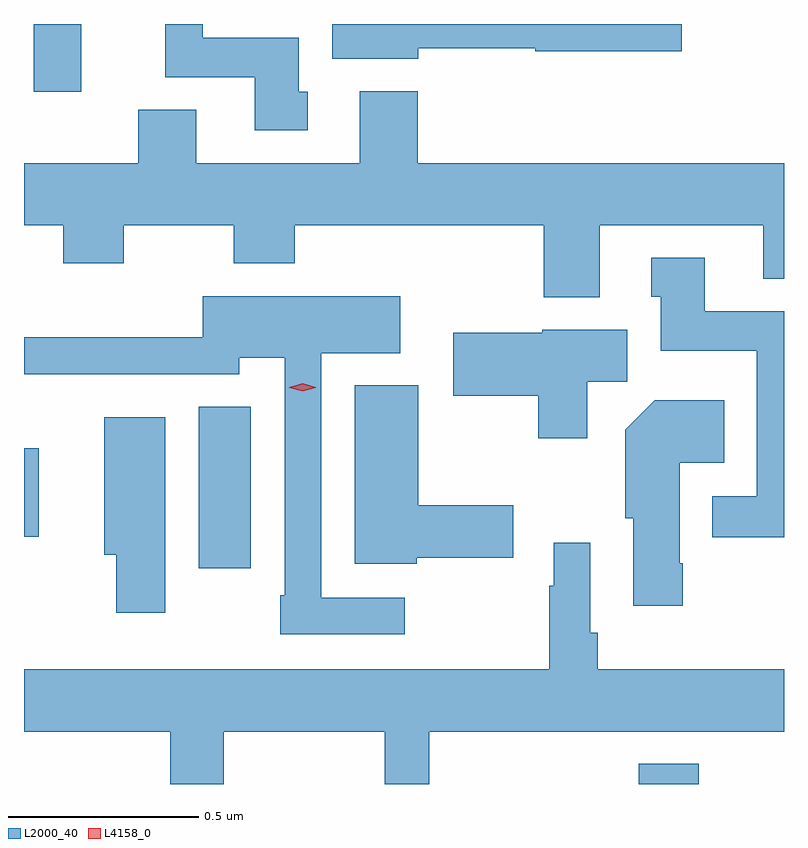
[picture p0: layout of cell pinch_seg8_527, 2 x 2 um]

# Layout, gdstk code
import gdstk
lib = gdstk.Library(unit=1e-6, precision=1e-09)
def R(c, l, rs):  # rectangles x0, y0, x1, y1
    for r in rs: c.add(gdstk.rectangle(r[:2], r[2:], *l))
def P(c, l, *ps):  # polygons
    for p in ps: c.add(gdstk.Polygon(p, *l))
L2000_40 = (2000, 40)
L4158_0 = (4158, 0)

pinch_seg8_527 = lib.new_cell('pinch_seg8_527')
R(pinch_seg8_527, L2000_40, [(221.12,1121.69,221.277,1121.743), (219.962,1122.258,220.099,1122.683), (219.502,1122.341,219.541,1122.574), (219.527,1123.512,219.652,1123.69)])
P(pinch_seg8_527, L2000_40, [(220.54,1123.626),(220.848,1123.626),(220.848,1123.618),(221.233,1123.618),(221.233,1123.69),(220.313,1123.69),(220.313,1123.598),(220.54,1123.598)],
  [(220.249,1123.512),(220.225,1123.512),(220.225,1123.654),(219.972,1123.654),(219.972,1123.69),(219.874,1123.69),(219.874,1123.55),(220.109,1123.55),(220.109,1123.41),(220.249,1123.41)],
  [(221.017,1123.16),(221.447,1123.16),(221.447,1123.019),(221.502,1123.019),(221.502,1123.324),(220.538,1123.324),(220.538,1123.513),(220.385,1123.513),(220.385,1123.324),(219.955,1123.324),(219.955,1123.465),(219.803,1123.465),(219.803,1123.324),(219.502,1123.324),(219.502,1123.16),(219.605,1123.16),(219.605,1123.061),(219.765,1123.061),(219.765,1123.16),(220.054,1123.16),(220.054,1123.061),(220.214,1123.061),(220.214,1123.16),(220.87,1123.16),(220.87,1122.971),(221.017,1122.971)],
  [(221.502,1122.934),(221.293,1122.934),(221.293,1123.075),(221.153,1123.075),(221.153,1122.972),(221.177,1122.972),(221.177,1122.83),(221.43,1122.83),(221.43,1122.447),(221.313,1122.447),(221.313,1122.339),(221.502,1122.339)],
  [(220.504,1122.18),(220.284,1122.18),(220.284,1122.824),(220.492,1122.824),(220.492,1122.973),(219.972,1122.973),(219.972,1122.866),(219.502,1122.866),(219.502,1122.768),(220.068,1122.768),(220.068,1122.812),(220.188,1122.812),(220.188,1122.187),(220.176,1122.187),(220.176,1122.084),(220.504,1122.084)],
  [(220.984,1122.748),(221.089,1122.748),(221.089,1122.886),(220.866,1122.886),(220.866,1122.877),(220.632,1122.877),(220.632,1122.712),(220.855,1122.712),(220.855,1122.6),(220.984,1122.6)],
  [(220.536,1122.286),(220.789,1122.286),(220.789,1122.423),(220.54,1122.423),(220.54,1122.739),(220.373,1122.739),(220.373,1122.269),(220.536,1122.269)],
  [(221.235,1122.271),(221.227,1122.271),(221.227,1122.536),(221.345,1122.536),(221.345,1122.7),(221.162,1122.7),(221.084,1122.622),(221.084,1122.39),(221.105,1122.39),(221.105,1122.159),(221.235,1122.159)],
  [(219.874,1122.655),(219.713,1122.655),(219.713,1122.293),(219.745,1122.293),(219.745,1122.141),(219.874,1122.141)],
  [(220.027,1121.828),(220.451,1121.828),(220.451,1121.69),(220.568,1121.69),(220.568,1121.828),(221.502,1121.828),(221.502,1121.992),(221.012,1121.992),(221.012,1122.088),(220.992,1122.088),(220.992,1122.325),(220.896,1122.325),(220.896,1122.212),(220.884,1122.212),(220.884,1121.992),(219.502,1121.992),(219.502,1121.828),(219.887,1121.828),(219.887,1121.69),(220.027,1121.69)])
P(pinch_seg8_527, L4158_0, [(220.235,1122.724),(220.2,1122.733),(220.2,1122.734),(220.2,1122.734),(220.235,1122.744),(220.27,1122.734),(220.27,1122.734),(220.27,1122.733)])

lib.write_gds('pinch_seg8_527.gds')
